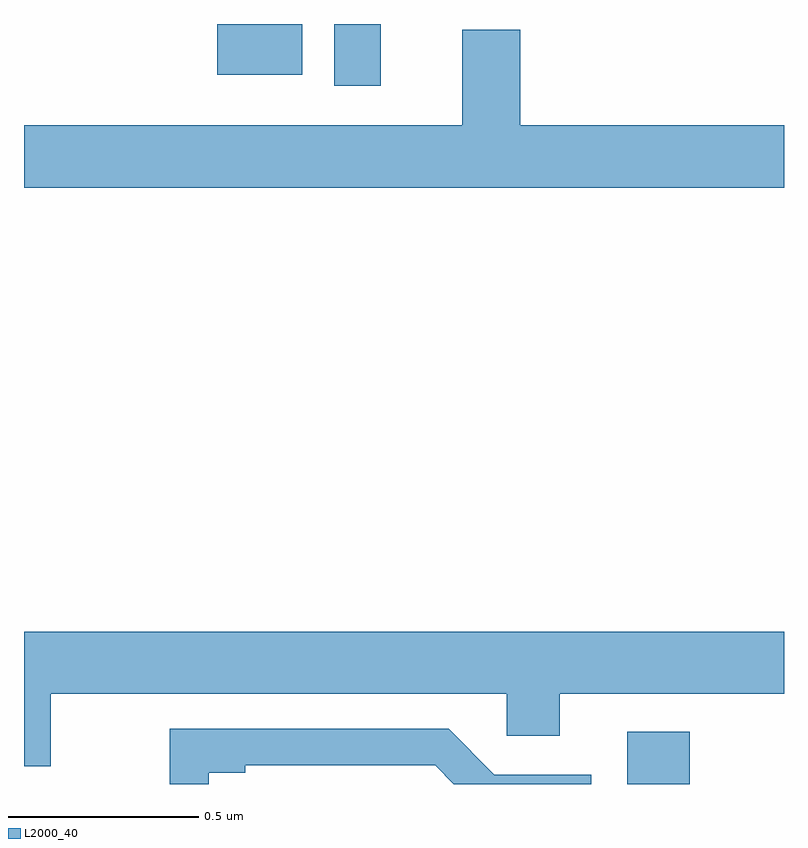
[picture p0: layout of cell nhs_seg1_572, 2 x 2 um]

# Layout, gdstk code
import gdstk
lib = gdstk.Library(unit=1e-6, precision=1e-09)
def R(c, l, rs):  # rectangles x0, y0, x1, y1
    for r in rs: c.add(gdstk.rectangle(r[:2], r[2:], *l))
def P(c, l, *ps):  # polygons
    for p in ps: c.add(gdstk.Polygon(p, *l))
L2000_40 = (2000, 40)

nhs_seg1_572 = lib.new_cell('nhs_seg1_572')
R(nhs_seg1_572, L2000_40, [(119.588,514.199,119.752,514.336), (118.817,516.036,118.939,516.199), (118.508,516.065,118.732,516.199)])
P(nhs_seg1_572, L2000_40, [(120,515.932),(119.306,515.932),(119.306,516.184),(119.153,516.184),(119.153,515.932),(118,515.932),(118,515.768),(120,515.768)],
  [(118.071,514.436),(119.271,514.436),(119.271,514.326),(119.41,514.326),(119.41,514.436),(120,514.436),(120,514.6),(118,514.6),(118,514.246),(118.071,514.246)],
  [(118.486,514.228),(118.582,514.228),(118.582,514.248),(119.082,514.248),(119.131,514.199),(119.493,514.199),(119.493,514.224),(119.238,514.224),(119.118,514.344),(118.384,514.344),(118.384,514.199),(118.486,514.199)])

lib.write_gds('nhs_seg1_572.gds')
